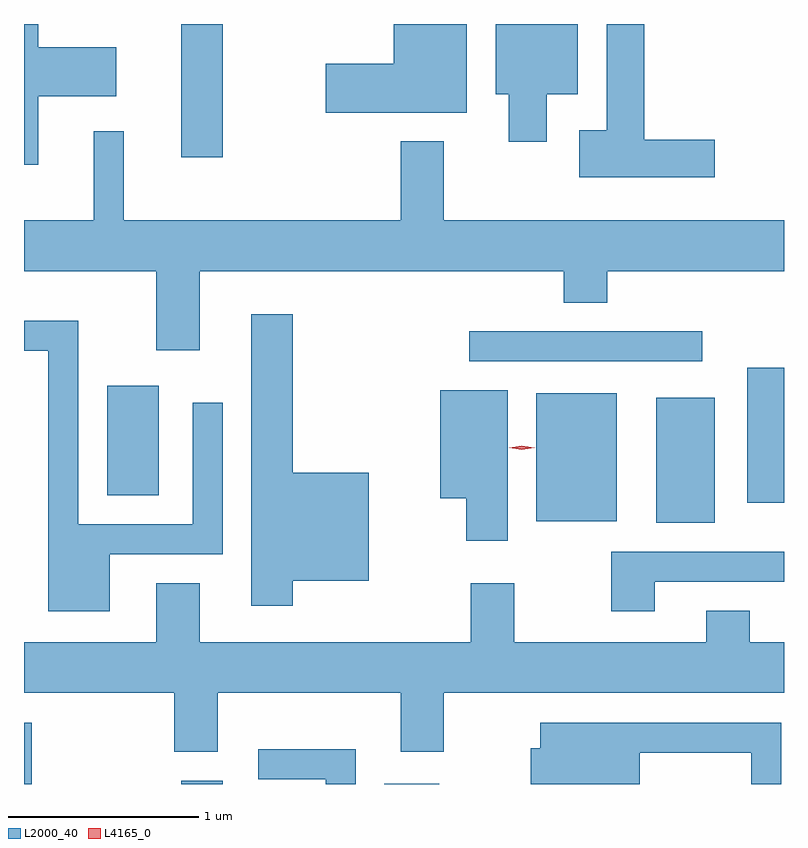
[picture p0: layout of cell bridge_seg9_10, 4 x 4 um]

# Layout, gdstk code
import gdstk
lib = gdstk.Library(unit=1e-6, precision=1e-09)
def R(c, l, rs):  # rectangles x0, y0, x1, y1
    for r in rs: c.add(gdstk.rectangle(r[:2], r[2:], *l))
def P(c, l, *ps):  # polygons
    for p in ps: c.add(gdstk.Polygon(p, *l))
L2000_40 = (2000, 40)
L4165_0 = (4165, 0)

bridge_seg9_10 = lib.new_cell('bridge_seg9_10')
R(bridge_seg9_10, L2000_40, [(1724.789,2024.637,1724.829,2024.959), (1725.616,2024.637,1725.834,2024.654), (1726.686,2024.637,1726.974,2024.639), (1728.116,2026.011,1728.424,2026.669), (1727.486,2026.021,1727.909,2026.694), (1728.596,2026.116,1728.789,2026.829), (1725.226,2026.156,1725.499,2026.734), (1727.133,2026.861,1728.358,2027.019), (1725.616,2027.936,1725.834,2028.637)])
P(bridge_seg9_10, L2000_40, [(1727.119,2028.637),(1726.736,2028.637),(1726.736,2028.429),(1726.376,2028.429),(1726.376,2028.171),(1727.119,2028.171)],
  [(1728.424,2028.029),(1728.054,2028.029),(1728.054,2028.637),(1727.856,2028.637),(1727.856,2028.079),(1727.711,2028.079),(1727.711,2027.831),(1728.424,2027.831)],
  [(1724.864,2028.256),(1725.274,2028.256),(1725.274,2028.514),(1724.864,2028.514),(1724.864,2028.637),(1724.789,2028.637),(1724.789,2027.896),(1724.864,2027.896)],
  [(1727.539,2028.266),(1727.704,2028.266),(1727.704,2028.637),(1727.271,2028.637),(1727.271,2028.266),(1727.341,2028.266),(1727.341,2028.016),(1727.539,2028.016)],
  [(1725.714,2027.336),(1727.631,2027.336),(1727.631,2027.171),(1727.859,2027.171),(1727.859,2027.336),(1728.789,2027.336),(1728.789,2027.604),(1726.999,2027.604),(1726.999,2028.019),(1726.771,2028.019),(1726.771,2027.604),(1725.314,2027.604),(1725.314,2028.073),(1725.156,2028.073),(1725.156,2027.604),(1724.789,2027.604),(1724.789,2027.336),(1725.486,2027.336),(1725.486,2026.921),(1725.714,2026.921)],
  [(1726.204,2025.706),(1726.604,2025.706),(1726.604,2026.274),(1726.204,2026.274),(1726.204,2027.109),(1725.986,2027.109),(1725.986,2025.576),(1726.204,2025.576)],
  [(1725.239,2025.846),(1725.834,2025.846),(1725.834,2026.643),(1725.676,2026.643),(1725.676,2026.004),(1725.074,2026.004),(1725.074,2027.074),(1724.789,2027.074),(1724.789,2026.916),(1724.916,2026.916),(1724.916,2025.546),(1725.239,2025.546)],
  [(1727.334,2026.709),(1726.981,2026.709),(1726.981,2026.141),(1727.116,2026.141),(1727.116,2025.916),(1727.334,2025.916)],
  [(1728.109,2025.701),(1728.789,2025.701),(1728.789,2025.859),(1727.881,2025.859),(1727.881,2025.546),(1728.109,2025.546)],
  [(1725.809,2025.116),(1726.771,2025.116),(1726.771,2024.806),(1726.999,2024.806),(1726.999,2025.116),(1728.789,2025.116),(1728.789,2025.384),(1728.609,2025.384),(1728.609,2025.549),(1728.381,2025.549),(1728.381,2025.384),(1727.369,2025.384),(1727.369,2025.694),(1727.141,2025.694),(1727.141,2025.384),(1725.714,2025.384),(1725.714,2025.694),(1725.486,2025.694),(1725.486,2025.384),(1724.789,2025.384),(1724.789,2025.116),(1725.581,2025.116),(1725.581,2024.806),(1725.809,2024.806)],
  [(1728.029,2024.801),(1728.616,2024.801),(1728.616,2024.637),(1728.774,2024.637),(1728.774,2024.959),(1727.506,2024.959),(1727.506,2024.824),(1727.456,2024.824),(1727.456,2024.637),(1728.029,2024.637)],
  [(1726.534,2024.819),(1726.023,2024.819),(1726.023,2024.661),(1726.376,2024.661),(1726.376,2024.637),(1726.534,2024.637)])
P(bridge_seg9_10, L4165_0, [(1727.409,2026.397),(1727.343,2026.407),(1727.342,2026.407),(1727.343,2026.408),(1727.409,2026.417),(1727.476,2026.408),(1727.476,2026.407),(1727.476,2026.407)])

lib.write_gds('bridge_seg9_10.gds')
